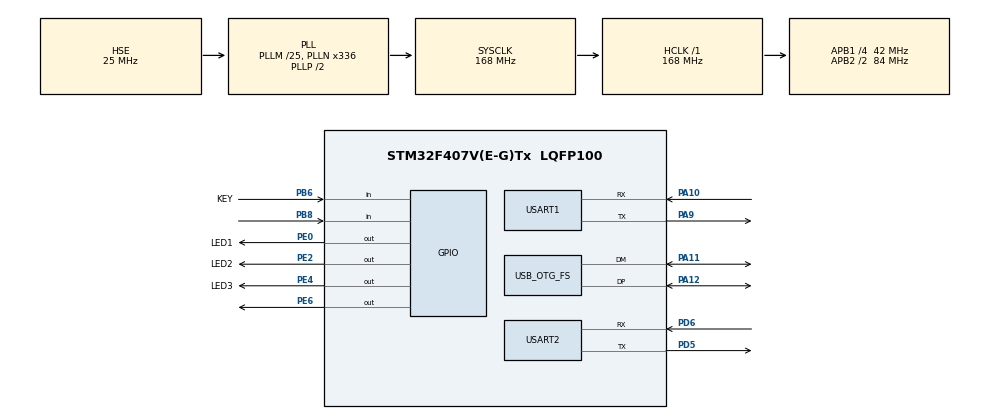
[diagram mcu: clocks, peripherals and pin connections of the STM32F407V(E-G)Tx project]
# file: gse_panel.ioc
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FREERTOS.Tasks01=defaultTask,0,512,StartDefaultTask,Default,NULL,Dynamic,NULL,NULL;messageHandler,0,512,StartMessageHandler,Default,NULL,Static,messageHandlerBuffer,messageHandlerControlBlock
Mcu.Family=STM32F4
Mcu.Name=STM32F407V(E-G)Tx
Mcu.Package=LQFP100
NVIC.OTG_FS_IRQn=true\:5\:0\:false\:false\:true\:true\:false\:true
NVIC.PriorityGroup=NVIC_PRIORITYGROUP_4
NVIC.USART1_IRQn=true\:5\:0\:false\:false\:true\:true\:true\:true
NVIC.USART2_IRQn=true\:5\:0\:false\:false\:true\:true\:true\:true
PA1.Signal=ETH_REF_CLK
PA10.Mode=Asynchronous
PA10.Signal=USART1_RX
PA11.Mode=Device_Only
PA11.Signal=USB_OTG_FS_DM
PA12.Mode=Device_Only
PA12.Signal=USB_OTG_FS_DP
PA13.Mode=Trace_Asynchronous_SW
PA13.Signal=SYS_JTMS-SWDIO
PA14.Mode=Trace_Asynchronous_SW
PA14.Signal=SYS_JTCK-SWCLK
PA2.Signal=ETH_MDIO
PA7.Signal=ETH_CRS_DV
PA9.Mode=Asynchronous
PA9.Signal=USART1_TX
PB11.Signal=ETH_TX_EN
PB12.Signal=ETH_TXD0
PB13.Signal=ETH_TXD1
PB3.Mode=Trace_Asynchronous_SW
PB3.Signal=SYS_JTDO-SWO
PB6.GPIO_Label=KEY
PB6.GPIO_PuPd=GPIO_PULLUP
PB6.Signal=GPIO_Input
PB8.GPIO_PuPd=GPIO_PULLUP
PB8.Signal=GPIO_Input
PC1.Signal=ETH_MDC
PC4.Signal=ETH_RXD0
PC5.Signal=ETH_RXD1
PD5.Mode=Asynchronous
PD5.Signal=USART2_TX
PD6.Mode=Asynchronous
PD6.Signal=USART2_RX
PE0.GPIO_Label=LED1
PE0.Signal=GPIO_Output
PE2.GPIO_Label=LED2
PE2.Signal=GPIO_Output
PE4.GPIO_Label=LED3
PE4.Signal=GPIO_Output
PE6.Signal=GPIO_Output
PH0-OSC_IN.Mode=HSE-External-Oscillator
PH0-OSC_IN.Signal=RCC_OSC_IN
PH1-OSC_OUT.Mode=HSE-External-Oscillator
PH1-OSC_OUT.Signal=RCC_OSC_OUT
ProjectManager.HeapSize=0x200
ProjectManager.StackSize=0x400
ProjectManager.TargetToolchain=TrueSTUDIO
RCC.48MHZClocksFreq_Value=48000000
RCC.AHBFreq_Value=168000000
RCC.APB1CLKDivider=RCC_HCLK_DIV4
RCC.APB1Freq_Value=42000000
RCC.APB1TimFreq_Value=84000000
RCC.APB2CLKDivider=RCC_HCLK_DIV2
RCC.APB2Freq_Value=84000000
RCC.APB2TimFreq_Value=168000000
RCC.CortexFreq_Value=168000000
RCC.HCLKFreq_Value=168000000
RCC.HSE_VALUE=25000000
RCC.HSI_VALUE=16000000
RCC.LSE_VALUE=32768
RCC.PLLM=25
RCC.PLLN=336
RCC.PLLQ=7
RCC.SYSCLKFreq_VALUE=168000000
RCC.SYSCLKSource=RCC_SYSCLKSOURCE_PLLCLK
RCC.VCOOutputFreq_Value=336000000
USART1.VirtualMode=VM_ASYNC
USART2.VirtualMode=VM_ASYNC
USB_DEVICE.CLASS_NAME_FS=CDC
USB_DEVICE.VirtualMode-CDC_FS=Cdc
USB_DEVICE.VirtualModeFS=Cdc_FS
USB_OTG_FS.VirtualMode=Device_Only
VP_FREERTOS_VS_CMSIS_V1.Mode=CMSIS_V1
VP_USB_DEVICE_VS_USB_DEVICE_CDC_FS.Mode=CDC_FS
board=custom

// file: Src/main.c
/* USER CODE BEGIN Header */
/**
  ******************************************************************************
  * @file           : main.c
  * @brief          : Main program body
  ******************************************************************************
  * @attention
  *
  * <h2><center>&copy; Copyright (c) 2021 STMicroelectronics.
  * All rights reserved.</center></h2>
  *
  * This software component is licensed by ST under Ultimate Liberty license
  * SLA0044, the "License"; You may not use this file except in compliance with
  * the License. You may obtain a copy of the License at:
  *                             www.st.com/SLA0044
  *
  ******************************************************************************
  */
/* USER CODE END Header */
#include "main.h"
#include "cmsis_os.h"
#include "usb_device.h"

/* USER CODE BEGIN Includes */

#include <stdio.h>
#include <stdarg.h>
#include <string.h>

#include "cobs.h"
#include "message.h"

/* USER CODE END Includes */

/* USER CODE BEGIN PD */

#define MSG_RX_UART1 0x00
#define MSG_TX_UART1 MSG_TX_MASK(MSG_RX_UART1)

#define MSG_RX_UART2 0x01
#define MSG_TX_UART2 MSG_TX_MASK(MSG_RX_UART2)

#define MSG_RX_USB 0x02
#define MSG_TX_USB MSG_TX_MASK(MSG_RX_USB)

/* USER CODE END PD */

UART_HandleTypeDef huart1;
UART_HandleTypeDef huart2;

osThreadId defaultTaskHandle;
osThreadId messageHandlerHandle;
uint32_t messageHandlerBuffer[ 512 ];
osStaticThreadDef_t messageHandlerControlBlock;
/* USER CODE BEGIN PV */

uint8_t usart1_rx_hw_buffer[1];
uint8_t usart1_rx_buffer[128];
StaticQueue_t usart1_rx_queue;
QueueHandle_t usart1_rx_queue_handle;
uint8_t usart1_active;
uint8_t usart1_tx_hw_buffer[1];
uint8_t usart1_tx_buffer[128];
StaticQueue_t usart1_tx_queue;
QueueHandle_t usart1_tx_queue_handle;

uint8_t usart2_rx_hw_buffer[1];
uint8_t usart2_rx_buffer[128];
StaticQueue_t usart2_rx_queue;
QueueHandle_t usart2_rx_queue_handle;
uint8_t usart2_active;
uint8_t usart2_tx_hw_buffer[1];
uint8_t usart2_tx_buffer[128];
StaticQueue_t usart2_tx_queue;
QueueHandle_t usart2_tx_queue_handle;

uint8_t usb_cdc_rx_buffer[128];
StaticQueue_t usb_cdc_rx_queue;
QueueHandle_t usb_cdc_rx_queue_handle;

uint8_t usb_cdc_tx_buffer[128];
int usb_cdc_tx_buffer_ptr = 0;

uint8_t usart1_pkt_buffer[128];
size_t usart1_pkt_buffer_ptr = 0;

uint8_t usart2_pkt_buffer[128];
size_t usart2_pkt_buffer_ptr = 0;

uint8_t usb_cdc_pkt_buffer[128];
size_t usb_cdc_pkt_buffer_ptr = 0;

// message queues
#define RX_MSG_QUEUE_LEN 8
uint8_t rx_msg_buffer[RX_MSG_QUEUE_LEN*(sizeof(struct message))];
StaticQueue_t rx_msg_queue;
QueueHandle_t rx_msg_queue_handle;

#define TX_MSG_QUEUE_LEN 8
uint8_t tx_msg_buffer[TX_MSG_QUEUE_LEN*(sizeof(struct message))];
StaticQueue_t tx_msg_queue;
QueueHandle_t tx_msg_queue_handle;

uint8_t dev_id = 0x8F;

uint8_t tx_seq = 0x00;

/* USER CODE END PV */

void SystemClock_Config(void);
static void MX_GPIO_Init(void);
static void MX_USART1_UART_Init(void);
static void MX_USART2_UART_Init(void);
void StartDefaultTask(void const * argument);
void StartMessageHandler(void const * argument);

/* USER CODE BEGIN 0 */

// printf() via SWO
void swo_printf(const char *fmt, ...)
{
  char buf[128];
  va_list argp;
  va_start(argp, fmt);
  if (0 < vsnprintf(buf, sizeof(buf), fmt, argp))
  {
    for (char *ptr = buf; *ptr; ptr++)
    {
      ITM_SendChar(*ptr);
    }
  }
  va_end(argp);
}

// Event handlers

//void tick_handler(void)
//{
//  // HAL_GetTick();
//}

//void HAL_UART_TxCpltCallback(UART_HandleTypeDef *huart);
//void HAL_UART_TxHalfCpltCallback(UART_HandleTypeDef *huart);
//void HAL_UART_RxCpltCallback(UART_HandleTypeDef *huart);
//void HAL_UART_RxHalfCpltCallback(UART_HandleTypeDef *huart);
//void HAL_UART_ErrorCallback(UART_HandleTypeDef *huart);
//void HAL_UART_AbortCpltCallback (UART_HandleTypeDef *huart);
//void HAL_UART_AbortTransmitCpltCallback (UART_HandleTypeDef *huart);
//void HAL_UART_AbortReceiveCpltCallback (UART_HandleTypeDef *huart);

void HAL_UART_TxCpltCallback(UART_HandleTypeDef *huart)
{
  if (huart == &huart1)
  {
    // TX complete for USART1
    if (uxQueueMessagesWaitingFromISR(usart1_tx_queue_handle))
    {
      usart1_active = 1;
      xQueueReceiveFromISR(usart1_tx_queue_handle, usart1_tx_hw_buffer, NULL);
      HAL_UART_Transmit_IT(&huart1, usart1_tx_hw_buffer, 1);
    }
    else
    {
      usart1_active = 0;
    }
  }
  else if (huart == &huart2)
//  if (huart == &huart2)
  {
    // TX complete for USART2
    if (uxQueueMessagesWaitingFromISR(usart2_tx_queue_handle))
    {
      usart2_active = 1;
      xQueueReceiveFromISR(usart2_tx_queue_handle, usart2_tx_hw_buffer, NULL);
      HAL_UART_Transmit_IT(&huart2, usart2_tx_hw_buffer, 1);
    }
    else
    {
      usart2_active = 0;
    }
  }
}

void HAL_UART_RxCpltCallback(UART_HandleTypeDef *huart)
{
  if (huart == &huart1)
  {
    // RX complete for USART1
    xQueueSendFromISR(usart1_rx_queue_handle, usart1_rx_hw_buffer, NULL);
    HAL_UART_Receive_IT(&huart1, usart1_rx_hw_buffer, 1);
  }
  else if (huart == &huart2)
  //if (huart == &huart2)
  {
    // RX complete for USART2
    xQueueSendFromISR(usart2_rx_queue_handle, usart2_rx_hw_buffer, NULL);
    HAL_UART_Receive_IT(&huart2, usart2_rx_hw_buffer, 1);
  }
}

void usb_cdc_rx_callback(uint8_t *buf, uint32_t len)
{
  for (int i = 0; i < len; i++)
  {
    xQueueSendFromISR(usb_cdc_rx_queue_handle, &buf[i], NULL);
  }
}

/* USER CODE END 0 */

int main(void)
{

  /* MCU Configuration--------------------------------------------------------*/

  /* Reset of all peripherals, Initializes the Flash interface and the Systick. */
  HAL_Init();

  /* Configure the system clock */
  SystemClock_Config();

  /* USER CODE BEGIN SysInit */

  HAL_Delay(100);

  /* USER CODE END SysInit */

  /* Initialize all configured peripherals */
  MX_GPIO_Init();
  MX_USART1_UART_Init();
  MX_USART2_UART_Init();
  /* USER CODE BEGIN 2 */

  usart1_rx_queue_handle = xQueueCreateStatic(sizeof(usart1_rx_buffer), 1, usart1_rx_buffer, &usart1_rx_queue);
  usart1_tx_queue_handle = xQueueCreateStatic(sizeof(usart1_tx_buffer), 1, usart1_tx_buffer, &usart1_tx_queue);

  HAL_UART_Receive_IT(&huart1, usart1_rx_hw_buffer, 1);

  usart2_rx_queue_handle = xQueueCreateStatic(sizeof(usart2_rx_buffer), 1, usart2_rx_buffer, &usart2_rx_queue);
  usart2_tx_queue_handle = xQueueCreateStatic(sizeof(usart2_tx_buffer), 1, usart2_tx_buffer, &usart2_tx_queue);

  HAL_UART_Receive_IT(&huart2, usart2_rx_hw_buffer, 1);

  usb_cdc_rx_queue_handle = xQueueCreateStatic(sizeof(usb_cdc_rx_buffer), 1, usb_cdc_rx_buffer, &usb_cdc_rx_queue);

  rx_msg_queue_handle = xQueueCreateStatic(RX_MSG_QUEUE_LEN, sizeof(struct message), rx_msg_buffer, &rx_msg_queue);
  tx_msg_queue_handle = xQueueCreateStatic(TX_MSG_QUEUE_LEN, sizeof(struct message), tx_msg_buffer, &tx_msg_queue);

  /* USER CODE END 2 */

  /* Create the thread(s) */
  /* definition and creation of defaultTask */
  osThreadDef(defaultTask, StartDefaultTask, osPriorityNormal, 0, 512);
  defaultTaskHandle = osThreadCreate(osThread(defaultTask), NULL);

  /* definition and creation of messageHandler */
  osThreadStaticDef(messageHandler, StartMessageHandler, osPriorityNormal, 0, 512, messageHandlerBuffer, &messageHandlerControlBlock);
  messageHandlerHandle = osThreadCreate(osThread(messageHandler), NULL);

  /* Start scheduler */
  osKernelStart();

  /* We should never get here as control is now taken by the scheduler */
  /* Infinite loop */
  while (1)
  {

  }
}

void SystemClock_Config(void)
{
  RCC_OscInitTypeDef RCC_OscInitStruct = {0};
  RCC_ClkInitTypeDef RCC_ClkInitStruct = {0};

  /** Configure the main internal regulator output voltage
  */
  __HAL_RCC_PWR_CLK_ENABLE();
  __HAL_PWR_VOLTAGESCALING_CONFIG(PWR_REGULATOR_VOLTAGE_SCALE1);
  /** Initializes the RCC Oscillators according to the specified parameters
  * in the RCC_OscInitTypeDef structure.
  */
  RCC_OscInitStruct.OscillatorType = RCC_OSCILLATORTYPE_HSE;
  RCC_OscInitStruct.HSEState = RCC_HSE_ON;
  RCC_OscInitStruct.PLL.PLLState = RCC_PLL_ON;
  RCC_OscInitStruct.PLL.PLLSource = RCC_PLLSOURCE_HSE;
  RCC_OscInitStruct.PLL.PLLM = 25;
  RCC_OscInitStruct.PLL.PLLN = 336;
  RCC_OscInitStruct.PLL.PLLP = RCC_PLLP_DIV2;
  RCC_OscInitStruct.PLL.PLLQ = 7;
  if (HAL_RCC_OscConfig(&RCC_OscInitStruct) != HAL_OK)
  {
    Error_Handler();
  }
  /** Initializes the CPU, AHB and APB buses clocks
  */
  RCC_ClkInitStruct.ClockType = RCC_CLOCKTYPE_HCLK|RCC_CLOCKTYPE_SYSCLK
                              |RCC_CLOCKTYPE_PCLK1|RCC_CLOCKTYPE_PCLK2;
  RCC_ClkInitStruct.SYSCLKSource = RCC_SYSCLKSOURCE_PLLCLK;
  RCC_ClkInitStruct.AHBCLKDivider = RCC_SYSCLK_DIV1;
  RCC_ClkInitStruct.APB1CLKDivider = RCC_HCLK_DIV4;
  RCC_ClkInitStruct.APB2CLKDivider = RCC_HCLK_DIV2;

  if (HAL_RCC_ClockConfig(&RCC_ClkInitStruct, FLASH_LATENCY_5) != HAL_OK)
  {
    Error_Handler();
  }
}

static void MX_USART1_UART_Init(void)
{

  huart1.Instance = USART1;
  huart1.Init.BaudRate = 115200;
  huart1.Init.WordLength = UART_WORDLENGTH_8B;
  huart1.Init.StopBits = UART_STOPBITS_1;
  huart1.Init.Parity = UART_PARITY_NONE;
  huart1.Init.Mode = UART_MODE_TX_RX;
  huart1.Init.HwFlowCtl = UART_HWCONTROL_NONE;
  huart1.Init.OverSampling = UART_OVERSAMPLING_16;
  if (HAL_UART_Init(&huart1) != HAL_OK)
  {
    Error_Handler();
  }

}

static void MX_USART2_UART_Init(void)
{

  huart2.Instance = USART2;
  huart2.Init.BaudRate = 115200;
  huart2.Init.WordLength = UART_WORDLENGTH_8B;
  huart2.Init.StopBits = UART_STOPBITS_1;
  huart2.Init.Parity = UART_PARITY_NONE;
  huart2.Init.Mode = UART_MODE_TX_RX;
  huart2.Init.HwFlowCtl = UART_HWCONTROL_NONE;
  huart2.Init.OverSampling = UART_OVERSAMPLING_16;
  if (HAL_UART_Init(&huart2) != HAL_OK)
  {
    Error_Handler();
  }

}

static void MX_GPIO_Init(void)
{
  GPIO_InitTypeDef GPIO_InitStruct = {0};

  /* GPIO Ports Clock Enable */
  __HAL_RCC_GPIOE_CLK_ENABLE();
  __HAL_RCC_GPIOH_CLK_ENABLE();
  __HAL_RCC_GPIOC_CLK_ENABLE();
  __HAL_RCC_GPIOA_CLK_ENABLE();
  __HAL_RCC_GPIOB_CLK_ENABLE();
  __HAL_RCC_GPIOD_CLK_ENABLE();

  /*Configure GPIO pin Output Level */
  HAL_GPIO_WritePin(GPIOE, LED2_Pin|LED3_Pin|GPIO_PIN_6|LED1_Pin, GPIO_PIN_RESET);

  /*Configure GPIO pins : LED2_Pin LED3_Pin PE6 LED1_Pin */
  GPIO_InitStruct.Pin = LED2_Pin|LED3_Pin|GPIO_PIN_6|LED1_Pin;
  GPIO_InitStruct.Mode = GPIO_MODE_OUTPUT_PP;
  GPIO_InitStruct.Pull = GPIO_NOPULL;
  GPIO_InitStruct.Speed = GPIO_SPEED_FREQ_LOW;
  HAL_GPIO_Init(GPIOE, &GPIO_InitStruct);

  /*Configure GPIO pins : PC1 PC4 PC5 */
  GPIO_InitStruct.Pin = GPIO_PIN_1|GPIO_PIN_4|GPIO_PIN_5;
  GPIO_InitStruct.Mode = GPIO_MODE_AF_PP;
  GPIO_InitStruct.Pull = GPIO_NOPULL;
  GPIO_InitStruct.Speed = GPIO_SPEED_FREQ_VERY_HIGH;
  GPIO_InitStruct.Alternate = GPIO_AF11_ETH;
  HAL_GPIO_Init(GPIOC, &GPIO_InitStruct);

  /*Configure GPIO pins : PA1 PA2 PA7 */
  GPIO_InitStruct.Pin = GPIO_PIN_1|GPIO_PIN_2|GPIO_PIN_7;
  GPIO_InitStruct.Mode = GPIO_MODE_AF_PP;
  GPIO_InitStruct.Pull = GPIO_NOPULL;
  GPIO_InitStruct.Speed = GPIO_SPEED_FREQ_VERY_HIGH;
  GPIO_InitStruct.Alternate = GPIO_AF11_ETH;
  HAL_GPIO_Init(GPIOA, &GPIO_InitStruct);

  /*Configure GPIO pins : PB11 PB12 PB13 */
  GPIO_InitStruct.Pin = GPIO_PIN_11|GPIO_PIN_12|GPIO_PIN_13;
  GPIO_InitStruct.Mode = GPIO_MODE_AF_PP;
  GPIO_InitStruct.Pull = GPIO_NOPULL;
  GPIO_InitStruct.Speed = GPIO_SPEED_FREQ_VERY_HIGH;
  GPIO_InitStruct.Alternate = GPIO_AF11_ETH;
  HAL_GPIO_Init(GPIOB, &GPIO_InitStruct);

  /*Configure GPIO pins : KEY_Pin PB8 */
  GPIO_InitStruct.Pin = KEY_Pin|GPIO_PIN_8;
  GPIO_InitStruct.Mode = GPIO_MODE_INPUT;
  GPIO_InitStruct.Pull = GPIO_PULLUP;
  HAL_GPIO_Init(GPIOB, &GPIO_InitStruct);

}

void StartDefaultTask(void const * argument)
{
  /* init code for USB_DEVICE */
  MX_USB_DEVICE_Init();
  /* USER CODE BEGIN 5 */
  struct message msg;

  uint32_t next_update = 0;
  uint8_t update = 0;

  while (1)
  {
    update = 0;

    msg.dest    = MSG_DEST_BCAST;
    msg.src     = dev_id;
    msg.flags   = 0x00;
    msg.rx_int  = MSG_RX_NONE;
    //msg.tx_mask = 0;
    msg.tx_mask = MSG_TX_UART1 | MSG_TX_USB;

    if (next_update <= osKernelSysTick())
    {
      update = 1;
      next_update += 100;
      //msg.tx_mask |= MSG_TX_UART1;
    }

    if (update)
    {
      if (!HAL_GPIO_ReadPin(KEY_GPIO_Port, KEY_Pin))
      {
        HAL_GPIO_WritePin(LED3_GPIO_Port, LED3_Pin, GPIO_PIN_SET);
      }
      else
      {
        HAL_GPIO_WritePin(LED3_GPIO_Port, LED3_Pin, GPIO_PIN_RESET);
      }

      msg.dest    = 0x40;
      msg.ptype   = MSG_TYPE_COMMAND;
      msg.len     = 0;
      msg.tx_mask = MSG_TX_UART1 | MSG_TX_UART2;
      msg.data[msg.len++] = 0xff;
      msg.data[msg.len++] = 0x01;
      msg.data[msg.len++] = 0x40;
      msg.data[msg.len++] = 0x00;
      msg.data[msg.len++] = HAL_GPIO_ReadPin(KEY_GPIO_Port, KEY_Pin) == 0;
      xQueueSend(tx_msg_queue_handle, &msg, 0);

    }

    osDelay(10);
  }
  /* USER CODE END 5 */
}

void StartMessageHandler(void const * argument)
{
  /* USER CODE BEGIN StartMessageHandler */
  struct message msg;
  uint8_t pkt_buffer[128];
  uint8_t pkt_buffer_2[128];
  uint8_t ch;
  size_t len;

  uint8_t activity = 0;
  uint32_t next_act_update = 0;

  HAL_GPIO_WritePin(LED1_GPIO_Port, LED1_Pin, GPIO_PIN_SET);

  while(1)
  {
    // USART 1 (GSE control)
    while (uxQueueMessagesWaiting(usart1_rx_queue_handle))
    {
      xQueueReceive(usart1_rx_queue_handle, &ch, 0);

      if (ch == 0)
      {
        len = cobs_decode(usart1_pkt_buffer, usart1_pkt_buffer_ptr, pkt_buffer);

        // swo_printf("Got packet [UART1]\n");

        // for (int i = 0; i < usart1_pkt_buffer_ptr; i++)
        // {
        //   swo_printf("%02x ", usart1_pkt_buffer[i]);
        // }
        // swo_printf("\n");

        if (parse_message(&msg, pkt_buffer, len) == 0)
        {
          msg.rx_int  = MSG_RX_UART1;
          msg.tx_mask = MSG_TX_NONE;
          xQueueSend(rx_msg_queue_handle, &msg, 0);
        }
        else
        {
          swo_printf("Parse failed [UART1]\n");
        }
        usart1_pkt_buffer_ptr = 0;
      }
      else
      {
        if (usart1_pkt_buffer_ptr == sizeof(usart1_pkt_buffer))
          usart1_pkt_buffer_ptr = 0;
        usart1_pkt_buffer[usart1_pkt_buffer_ptr++] = ch;
      }
    }

    // USART 2 (GSE umbilical)
    while (uxQueueMessagesWaiting(usart2_rx_queue_handle))
    {
      xQueueReceive(usart2_rx_queue_handle, &ch, 0);

      if (ch == 0)
      {
        len = cobs_decode(usart2_pkt_buffer, usart2_pkt_buffer_ptr, pkt_buffer);

        // swo_printf("Got packet [UART2]\n");

        // for (int i = 0; i < usart2_pkt_buffer_ptr; i++)
        // {
        //   swo_printf("%02x ", usart2_pkt_buffer[i]);
        // }
        // swo_printf("\n");

        if (parse_message(&msg, pkt_buffer, len) == 0)
        {
          msg.rx_int  = MSG_RX_UART2;
          msg.tx_mask = MSG_TX_NONE;
          xQueueSend(rx_msg_queue_handle, &msg, 0);
        }
        else
        {
          swo_printf("Parse failed [UART2]\n");
        }
        usart2_pkt_buffer_ptr = 0;
      }
      else
      {
        if (usart2_pkt_buffer_ptr == sizeof(usart2_pkt_buffer))
          usart2_pkt_buffer_ptr = 0;
        usart2_pkt_buffer[usart2_pkt_buffer_ptr++] = ch;
      }
    }

    // USB CDC
    while (uxQueueMessagesWaiting(usb_cdc_rx_queue_handle))
    {
      xQueueReceive(usb_cdc_rx_queue_handle, &ch, 0);

      if (ch == 0)
      {
        len = cobs_decode(usb_cdc_pkt_buffer, usb_cdc_pkt_buffer_ptr, pkt_buffer);

        // swo_printf("Got packet [USB CDC]\n");

        // for (int i = 0; i < usb_cdc_pkt_buffer_ptr; i++)
        // {
        //   swo_printf("%02x ", usb_cdc_pkt_buffer[i]);
        // }
        // swo_printf("\n");

        if (parse_message(&msg, pkt_buffer, len) == 0)
        {
          msg.rx_int  = MSG_RX_USB;
          msg.tx_mask = MSG_TX_NONE;
          xQueueSend(rx_msg_queue_handle, &msg, 0);
        }
        else
        {
          swo_printf("Parse failed [USB CDC]\n");
        }
        usb_cdc_pkt_buffer_ptr = 0;
      }
      else
      {
        if (usb_cdc_pkt_buffer_ptr == sizeof(usb_cdc_pkt_buffer))
          usb_cdc_pkt_buffer_ptr = 0;
        usb_cdc_pkt_buffer[usb_cdc_pkt_buffer_ptr++] = ch;
      }
    }

    // Process received messages
    while (uxQueueMessagesWaiting(rx_msg_queue_handle))
    {
      xQueueReceive(rx_msg_queue_handle, &msg, 0);

      if (is_duplicate_message(&msg))
        continue;

      register_message(&msg);

      if (msg.dest == MSG_DEST_BCAST || msg.dest != dev_id)
      {
        // forward packet
        msg.tx_mask = MSG_INV_TX_MASK(msg.rx_int);

        xQueueSend(tx_msg_queue_handle, &msg, 0);
      }

      if (msg.dest == MSG_DEST_BCAST || msg.dest == dev_id)
      {
        // address check passed

        if (msg.ptype == MSG_TYPE_PING_REQ)
        {
          // echo request
          msg.dest = msg.src;
          msg.src = dev_id;
          msg.ptype = MSG_TYPE_PING_RESP;
          msg.tx_mask = MSG_TX_MASK(msg.rx_int); // loop it back

          xQueueSend(tx_msg_queue_handle, &msg, 0);
        }
      }
    }

    // Transmit messages
    while (uxQueueMessagesWaiting(tx_msg_queue_handle))
    {
      xQueueReceive(tx_msg_queue_handle, &msg, 0);

      if (msg.rx_int == MSG_RX_NONE)
      {
        // locally generated traffic
        msg.seq = tx_seq;
        tx_seq = tx_seq + 1;

        register_message(&msg);
      }

      pack_message(&msg, pkt_buffer, sizeof(pkt_buffer));

      len = cobs_encode(pkt_buffer, msg.len+MSG_OVERHEAD, pkt_buffer_2);
      pkt_buffer_2[len++] = 0;

      // UART 3 (GSE control)
      if (msg.tx_mask & MSG_TX_UART1)
      {
        activity = 1;

        for (int i = 0; i < len; i++)
        {
          ch = pkt_buffer_2[i];
          xQueueSend(usart1_tx_queue_handle, &ch, 10);
          if (!usart1_active)
          {
            usart1_active = 1;
            xQueueReceive(usart1_tx_queue_handle, usart1_tx_hw_buffer, 0);
            HAL_UART_Transmit_IT(&huart1, usart1_tx_hw_buffer, 1);
          }
        }
      }

      // UART 4 (GSE umbilical)
      if (msg.tx_mask & MSG_TX_UART2)
      {
        activity = 1;

        for (int i = 0; i < len; i++)
        {
          ch = pkt_buffer_2[i];
          xQueueSend(usart2_tx_queue_handle, &ch, 10);
          if (!usart2_active)
          {
            usart2_active = 1;
            xQueueReceive(usart2_tx_queue_handle, usart2_tx_hw_buffer, 0);
            HAL_UART_Transmit_IT(&huart2, usart2_tx_hw_buffer, 1);
          }
        }
      }

      // USB CDC
      if (msg.tx_mask & MSG_TX_USB)
      {
        activity = 1;

        //usb_cdc_tx(pkt_buffer_2, len);
        if (usb_cdc_tx_buffer_ptr + len < sizeof(usb_cdc_tx_buffer))
        {
          memcpy(usb_cdc_tx_buffer+usb_cdc_tx_buffer_ptr, pkt_buffer_2, len);
          usb_cdc_tx_buffer_ptr += len;
        }
      }
    }

    // USB CDC
    if (usb_cdc_tx_buffer_ptr)
    {
      if (usb_cdc_tx(usb_cdc_tx_buffer, usb_cdc_tx_buffer_ptr) == 0)
      {
        usb_cdc_tx_buffer_ptr = 0;
      }
    }

    // power/act light
    if (next_act_update <= osKernelSysTick())
    {
      if (HAL_GPIO_ReadPin(LED1_GPIO_Port, LED1_Pin))
      {
        if (activity)
        {
          activity = 0;
          HAL_GPIO_WritePin(LED1_GPIO_Port, LED1_Pin, GPIO_PIN_RESET);
          next_act_update = osKernelSysTick() + 25;
        }
      }
      else
      {
        HAL_GPIO_WritePin(LED1_GPIO_Port, LED1_Pin, GPIO_PIN_SET);
        next_act_update = osKernelSysTick() + 25;
      }
    }

    osDelay(1);
  }
  /* USER CODE END StartMessageHandler */
}

void Error_Handler(void)
{
  __disable_irq();
  while (1)
  {
  }
}

/************************ (C) COPYRIGHT STMicroelectronics *****END OF FILE****/
